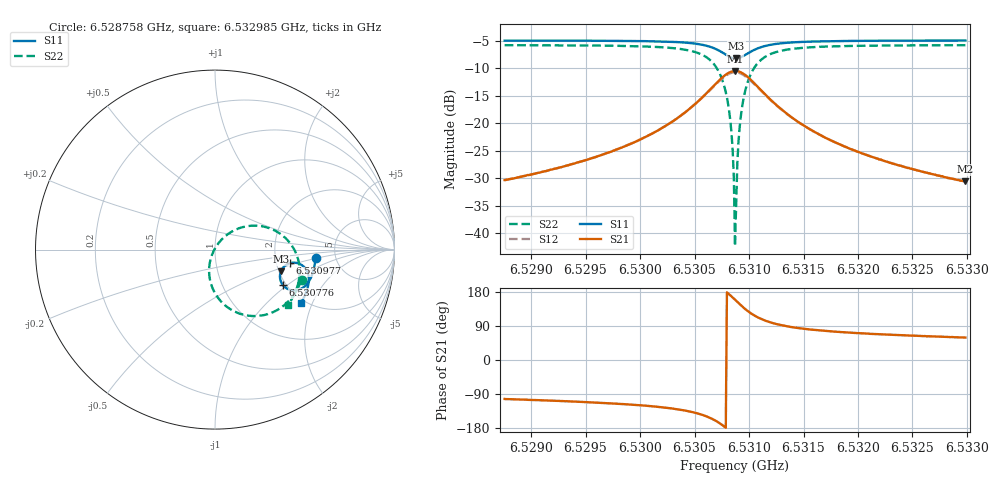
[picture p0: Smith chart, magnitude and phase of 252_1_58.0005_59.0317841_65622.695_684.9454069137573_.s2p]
#  HZ  S  RI  R  50.00
! Rohde & Schwarz Vector Network Analyzer
! Rohde-Schwarz,ZNB20-2Port,1311601062101988,3.16
! Created: UTC 3/21/2024, 1:01:36 AM
! freq[Hz]  re:S11  im:S11  re:S21  im:S21  re:S12  im:S12  re:S22  im:S22
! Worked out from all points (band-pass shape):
!   401 points, 6.528758 GHz to 6.532985 GHz, reference 50 ohm
!   highest |S21| = -10.52 dB at 6.530871 GHz (marker M1); lowest = -30.6 dB at 6.532985 GHz (marker M2)
!   |S21| within 3 dB of the highest: 6.530662 GHz to 6.531086 GHz (424.3 kHz wide, 0.0065 % of centre)
!   lowest |S11| = -8.3 dB at 6.530882 GHz (marker M3), VSWR 2.26, Z = 102 - j29.3 ohm
!   |S11| at or under -10 dB: nowhere
!   |S22| runs from -42.4 to -5.8 dB; largest |S21 - S12| = 0.012
!   S11 on the Smith chart (normalised r, x): 6.528758 GHz: 3.49, -0.48; 6.530776 GHz: 1.92, -0.92; 6.530977 GHz: 2.37, -0.44; 6.532985 GHz: 1.88, -1.65
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6.5287576e9  0.5601 -0.0474  -0.00676 -0.0296  -0.00735 -0.0295  0.4833 -0.1668
6.5294658e9  0.551 -0.1061  -0.0159 -0.0421  -0.0168 -0.0417  0.4527 -0.2308
6.5301739e9  0.5242 -0.1759  -0.0484 -0.0721  -0.0506 -0.0709  0.3729 -0.3198
6.5305967e9  0.4558 -0.2262  -0.1526 -0.0978  -0.155 -0.0917  0.1725 -0.366
6.5307024e9  0.4122 -0.2224  -0.2201 -0.0729  -0.2195 -0.0637  0.0588 -0.3127
6.5307763e9  0.3778 -0.1967  -0.2702 -0.017  -0.265 -0.00724  -0.0157 -0.2099
6.530808e9  0.3669 -0.1775  -0.2839 0.0201  -0.2763 0.0288  -0.0315 -0.1459
6.5308292e9  0.3629 -0.1623  -0.2875 0.0482  -0.2785 0.0557  -0.0323 -0.0989
6.5308398e9  0.362 -0.1542  -0.2874 0.063  -0.2779 0.0694  -0.0293 -0.0749
6.5308503e9  0.3618 -0.1462  -0.2858 0.0777  -0.2758 0.0835  -0.0238 -0.0509
6.5308609e9  0.3627 -0.1378  -0.2827 0.0925  -0.2724 0.0973  -0.0161 -0.0273
6.5308715e9  0.3644 -0.1298  -0.278 0.1071  -0.2677 0.1109  -0.006 -0.00468
6.530882e9  0.3671 -0.1218  -0.272 0.1212  -0.2616 0.1239  0.00648 0.017
6.5308926e9  0.3704 -0.1142  -0.2648 0.1342  -0.2544 0.1363  0.0207 0.0372
6.5309137e9  0.3795 -0.1006  -0.2467 0.1579  -0.2369 0.1583  0.0545 0.0727
6.5309243e9  0.3848 -0.0946  -0.2363 0.1682  -0.2269 0.1676  0.0734 0.0875
6.5309772e9  0.4167 -0.076  -0.178 0.2005  -0.1712 0.1978  0.1751 0.1297
6.5310511e9  0.4587 -0.0751  -0.1043 0.2036  -0.1009 0.2007  0.2987 0.1209
6.5311568e9  0.4959 -0.0963  -0.0404 0.174  -0.0388 0.1725  0.4015 0.0554
6.5315796e9  0.5226 -0.1754  0.0149 0.0844  0.016 0.084  0.4718 -0.1332
6.5322877e9  0.5042 -0.2475  0.0172 0.0402  0.018 0.0402  0.4429 -0.248
6.5329853e9  0.478 -0.2996  0.0151 0.0254  0.0155 0.0252  0.4075 -0.308
